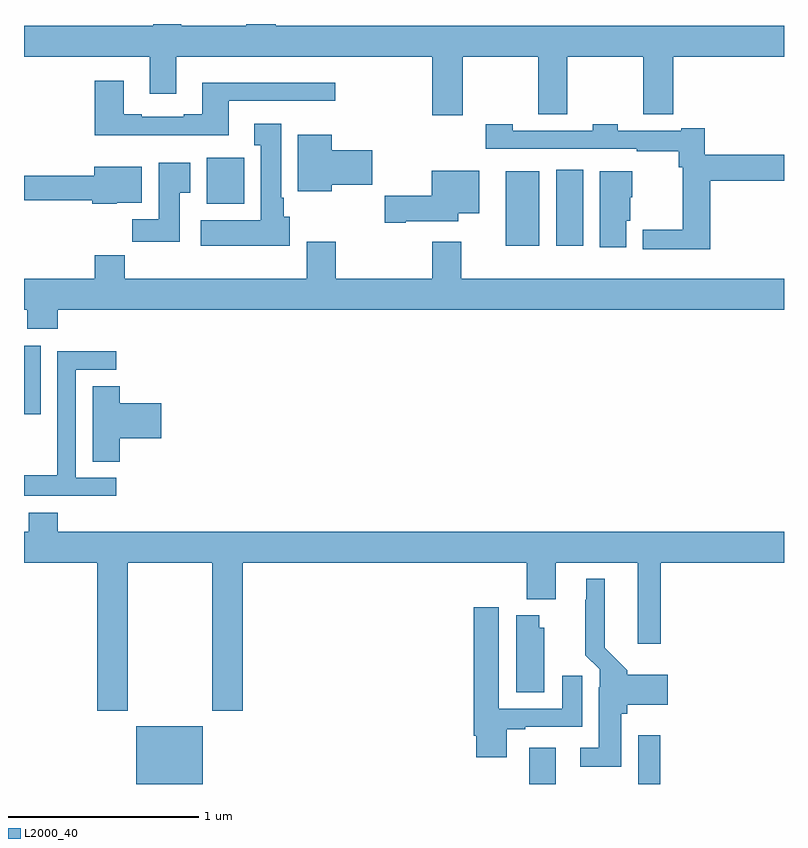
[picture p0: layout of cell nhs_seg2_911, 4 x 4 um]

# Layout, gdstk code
import gdstk
lib = gdstk.Library(unit=1e-6, precision=1e-09)
def R(c, l, rs):  # rectangles x0, y0, x1, y1
    for r in rs: c.add(gdstk.rectangle(r[:2], r[2:], *l))
def P(c, l, *ps):  # polygons
    for p in ps: c.add(gdstk.Polygon(p, *l))
L2000_40 = (2000, 40)

nhs_seg2_911 = lib.new_cell('nhs_seg2_911')
R(nhs_seg2_911, L2000_40, [(157.592,651.8,157.942,652.105), (159.659,651.8,159.799,651.991), (160.233,651.8,160.349,652.057), (157,653.745,157.087,654.106), (159.536,654.632,159.712,655.024), (159.8,654.632,159.943,655.033), (157.961,654.854,158.158,655.096)])
P(nhs_seg2_911, L2000_40, [(159.309,655.628),(159.706,655.628),(159.706,655.324),(159.86,655.324),(159.86,655.628),(160.258,655.628),(160.258,655.324),(160.418,655.324),(160.418,655.628),(161,655.628),(161,655.792),(158.324,655.792),(158.324,655.8),(158.171,655.8),(158.171,655.792),(157.827,655.792),(157.827,655.8),(157.679,655.8),(157.679,655.792),(157,655.792),(157,655.628),(157.661,655.628),(157.661,655.434),(157.801,655.434),(157.801,655.628),(159.149,655.628),(159.149,655.32),(159.309,655.32)],
  [(158.077,655.395),(158.638,655.395),(158.638,655.492),(157.937,655.492),(157.937,655.324),(157.841,655.324),(157.841,655.311),(157.621,655.311),(157.621,655.324),(157.525,655.324),(157.525,655.501),(157.373,655.501),(157.373,655.214),(158.077,655.214)],
  [(158.398,654.786),(158.368,654.786),(158.368,654.886),(158.353,654.886),(158.353,655.276),(158.213,655.276),(158.213,655.163),(158.246,655.163),(158.246,654.766),(157.929,654.766),(157.929,654.632),(158.398,654.632)],
  [(160.613,654.976),(161,654.976),(161,655.112),(160.583,655.112),(160.583,655.252),(160.46,655.252),(160.46,655.239),(160.125,655.239),(160.125,655.272),(159.993,655.272),(159.993,655.239),(159.573,655.239),(159.573,655.272),(159.429,655.272),(159.429,655.143),(160.225,655.143),(160.225,655.131),(160.447,655.131),(160.447,655.046),(160.466,655.046),(160.466,654.716),(160.257,654.716),(160.257,654.614),(160.613,654.614)],
  [(158.62,654.953),(158.833,654.953),(158.833,655.136),(158.62,655.136),(158.62,655.216),(158.441,655.216),(158.441,654.92),(158.62,654.92)],
  [(157.819,654.913),(157.876,654.913),(157.876,655.069),(157.709,655.069),(157.709,654.772),(157.57,654.772),(157.57,654.654),(157.819,654.654)],
  [(157.488,654.86),(157.621,654.86),(157.621,655.048),(157.37,655.048),(157.37,655.001),(157,655.001),(157,654.873),(157.358,654.873),(157.358,654.854),(157.488,654.854)],
  [(159.01,654.761),(159.286,654.761),(159.286,654.803),(159.397,654.803),(159.397,655.027),(159.146,655.027),(159.146,654.896),(158.898,654.896),(158.898,654.754),(159.01,654.754)],
  [(160.171,654.765),(160.192,654.765),(160.192,654.888),(160.201,654.888),(160.201,655.024),(160.031,655.024),(160.031,654.624),(160.171,654.624)],
  [(157.178,654.296),(161,654.296),(161,654.46),(159.301,654.46),(159.301,654.655),(159.149,654.655),(159.149,654.46),(158.642,654.46),(158.642,654.655),(158.489,654.655),(158.489,654.46),(157.529,654.46),(157.529,654.584),(157.373,654.584),(157.373,654.46),(157,654.46),(157,654.296),(157.018,654.296),(157.018,654.197),(157.178,654.197)],
  [(157.486,653.412),(157.272,653.412),(157.272,653.979),(157.486,653.979),(157.486,654.078),(157.176,654.078),(157.176,653.648),(157.174,653.648),(157.174,653.425),(157,653.425),(157,653.316),(157.486,653.316)],
  [(157.505,653.621),(157.723,653.621),(157.723,653.804),(157.505,653.804),(157.505,653.894),(157.361,653.894),(157.361,653.497),(157.505,653.497)],
  [(157.545,652.964),(157.99,652.964),(157.99,652.185),(158.15,652.185),(158.15,652.964),(159.647,652.964),(159.647,652.772),(159.799,652.772),(159.799,652.964),(160.229,652.964),(160.229,652.539),(160.352,652.539),(160.352,652.964),(161,652.964),(161,653.128),(157.178,653.128),(157.178,653.227),(157.025,653.227),(157.025,653.128),(157,653.128),(157,652.964),(157.385,652.964),(157.385,652.185),(157.545,652.185)],
  [(160.144,652.17),(160.175,652.17),(160.175,652.217),(160.387,652.217),(160.387,652.375),(160.175,652.375),(160.175,652.398),(160.057,652.516),(160.057,652.879),(159.959,652.879),(159.959,652.769),(159.955,652.769),(159.955,652.478),(160.029,652.404),(160.029,652.31),(160.025,652.31),(160.025,651.991),(159.927,651.991),(159.927,651.89),(160.144,651.89)],
  [(159.541,652.089),(159.637,652.089),(159.637,652.101),(159.937,652.101),(159.937,652.369),(159.833,652.369),(159.833,652.197),(159.499,652.197),(159.499,652.729),(159.368,652.729),(159.368,652.054),(159.38,652.054),(159.38,651.942),(159.541,651.942)],
  [(159.739,652.623),(159.712,652.623),(159.712,652.687),(159.59,652.687),(159.59,652.282),(159.739,652.282)])

lib.write_gds('nhs_seg2_911.gds')
